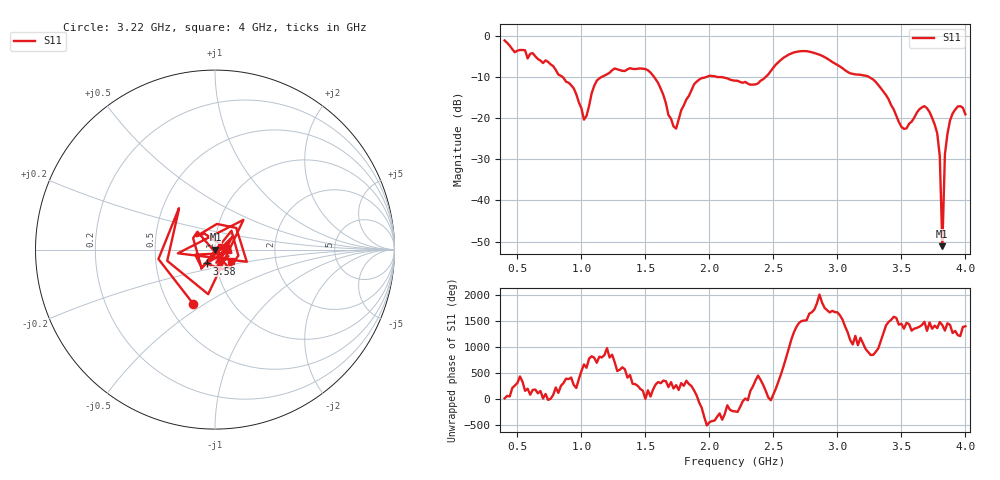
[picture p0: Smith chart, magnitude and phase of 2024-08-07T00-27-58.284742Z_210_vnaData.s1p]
!Created with skrf (http://scikit-rf.org).
# Hz S RI R 50.0
!freq ReS11 ImS11
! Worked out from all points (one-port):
!   181 points, 400 MHz to 4 GHz, reference 50 ohm
!   lowest |S11| = -51.1 dB at 3.82 GHz (marker M1), VSWR 1.01, Z = 50.3 - j0.0782 ohm
!   |S11| at or under -10 dB: 1.567 GHz to 1.98 GHz (413.3 MHz wide, 23.3 % of centre); 2.055 GHz to 2.44 GHz (384.5 MHz wide, 17.1 % of centre); 3.245 GHz to end of sweep (the widest 3 of 4)
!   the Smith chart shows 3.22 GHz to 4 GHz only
!   S11 on the Smith chart (normalised r, x): 3.22 GHz: 0.66, -0.45; 3.58 GHz: 0.90, -0.14; 4 GHz: 1.18, -0.16
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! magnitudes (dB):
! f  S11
! 400 MHz  -1.2
! 860 MHz  -10.2
! 940 MHz  -12.8
! 1.02 GHz  -20.4
! 1.12 GHz  -10.9
! 1.3 GHz  -8.4
! 1.52 GHz  -8.4
! 1.6 GHz  -11.5
! 1.72 GHz  -22.0
! 1.76 GHz  -20.3
! 1.92 GHz  -10.7
! 2.2 GHz  -10.9
! 2.38 GHz  -11.6
! 2.66 GHz  -4.1
! 3.1 GHz  -9.2
! 3.22 GHz  -9.7
! 3.38 GHz  -14.4
! 3.5 GHz  -22.1
! 3.56 GHz  -21.4
! 3.58 GHz  -20.9
! 3.68 GHz  -17.1
! 3.78 GHz  -23.7
! 3.8 GHz  -29.3
! 3.82 GHz  -51.1
! 3.84 GHz  -28.8
! 3.86 GHz  -23.8
! 3.94 GHz  -17.2
! 4 GHz  -19.1
